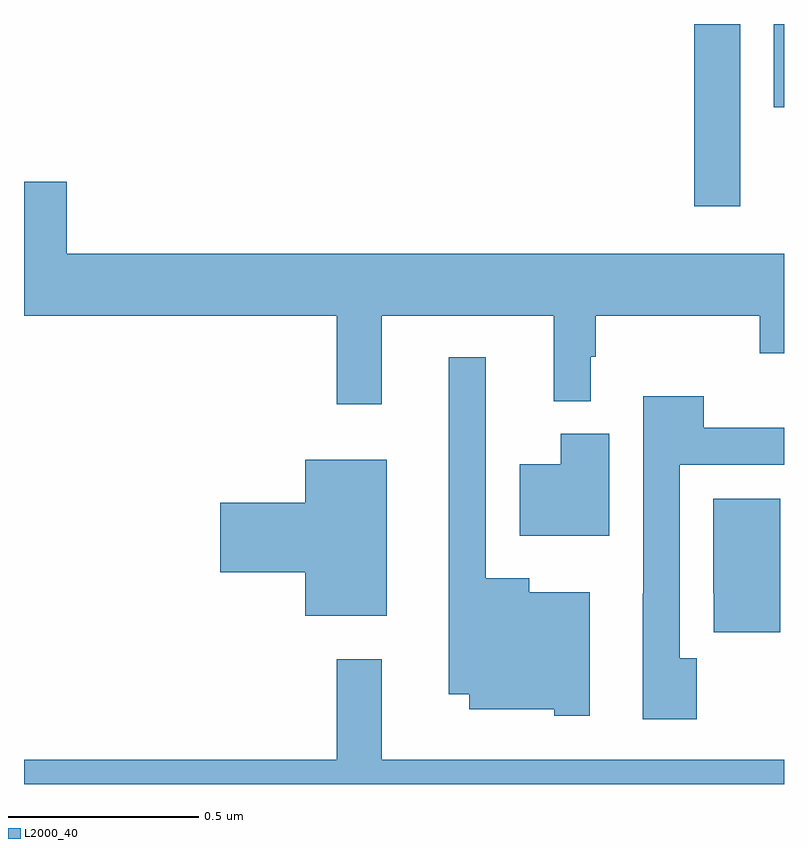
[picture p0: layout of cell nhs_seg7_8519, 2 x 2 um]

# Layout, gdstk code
import gdstk
lib = gdstk.Library(unit=1e-6, precision=1e-09)
def R(c, l, rs):  # rectangles x0, y0, x1, y1
    for r in rs: c.add(gdstk.rectangle(r[:2], r[2:], *l))
def P(c, l, *ps):  # polygons
    for p in ps: c.add(gdstk.Polygon(p, *l))
L2000_40 = (2000, 40)

nhs_seg7_8519 = lib.new_cell('nhs_seg7_8519')
R(nhs_seg7_8519, L2000_40, [(226.764,1051.521,226.885,1052), (226.973,1051.781,227,1052)])
P(nhs_seg7_8519, L2000_40, [(225.941,1051.232),(226.394,1051.232),(226.394,1051.007),(226.492,1051.007),(226.492,1051.125),(226.504,1051.125),(226.504,1051.232),(226.936,1051.232),(226.936,1051.133),(227,1051.133),(227,1051.396),(225.112,1051.396),(225.112,1051.585),(225,1051.585),(225,1051.232),(225.823,1051.232),(225.823,1050.999),(225.941,1050.999)],
  [(226.489,1050.505),(226.33,1050.505),(226.33,1050.541),(226.215,1050.541),(226.215,1051.123),(226.118,1051.123),(226.118,1050.236),(226.172,1050.236),(226.172,1050.197),(226.395,1050.197),(226.395,1050.179),(226.489,1050.179)],
  [(226.771,1050.331),(226.725,1050.331),(226.725,1050.84),(227,1050.84),(227,1050.938),(226.789,1050.938),(226.789,1051.021),(226.629,1051.021),(226.629,1050.501),(226.628,1050.501),(226.628,1050.171),(226.771,1050.171)],
  [(226.54,1050.922),(226.412,1050.922),(226.412,1050.841),(226.304,1050.841),(226.304,1050.653),(226.54,1050.653)],
  [(225.955,1050.853),(225.74,1050.853),(225.74,1050.74),(225.516,1050.74),(225.516,1050.557),(225.74,1050.557),(225.74,1050.443),(225.955,1050.443)],
  [(226.99,1050.751),(226.814,1050.751),(226.814,1050.502),(226.815,1050.502),(226.815,1050.399),(226.99,1050.399)],
  [(227,1050.064),(225.942,1050.064),(225.942,1050.328),(225.823,1050.328),(225.823,1050.064),(225,1050.064),(225,1050),(227,1050)])

lib.write_gds('nhs_seg7_8519.gds')
